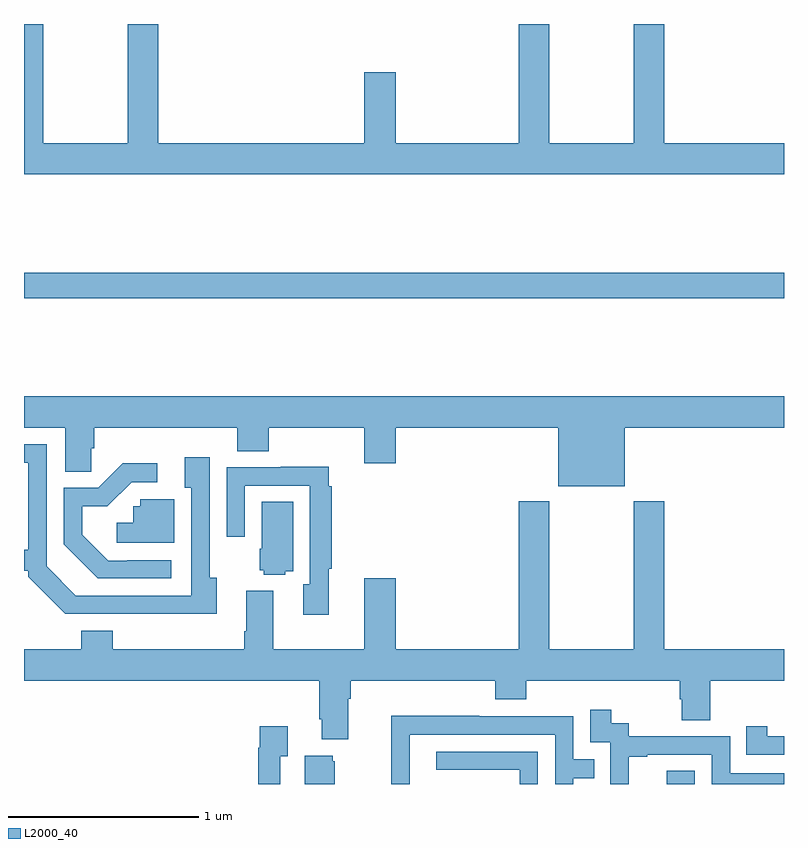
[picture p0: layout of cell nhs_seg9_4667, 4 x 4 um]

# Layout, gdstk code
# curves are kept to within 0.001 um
import gdstk
lib = gdstk.Library(unit=1e-6, precision=1e-09)
def R(c, l, rs):  # rectangles x0, y0, x1, y1
    for r in rs: c.add(gdstk.rectangle(r[:2], r[2:], *l))
def P(c, l, *ps):  # polygons
    for p in ps: c.add(gdstk.Polygon(p, *l))
L2000_40 = (2000, 40)

nhs_seg9_4667 = lib.new_cell('nhs_seg9_4667')
R(nhs_seg9_4667, L2000_40, [(382.383,1238.5,382.53,1238.569), (379,1241.056,383,1241.192)])
P(nhs_seg9_4667, L2000_40, [(383,1241.872),(382.37,1241.872),(382.37,1242.5),(382.21,1242.5),(382.21,1241.872),(381.765,1241.872),(381.765,1242.5),(381.605,1242.5),(381.605,1241.872),(380.956,1241.872),(380.956,1242.247),(380.792,1242.247),(380.792,1241.872),(379.706,1241.872),(379.706,1242.5),(379.546,1242.5),(379.546,1241.872),(379.101,1241.872),(379.101,1242.5),(379,1242.5),(379,1241.708),(383,1241.708)],
  [(382.162,1240.376),(383,1240.376),(383,1240.54),(379,1240.54),(379,1240.376),(379.217,1240.376),(379.217,1240.144),(379.355,1240.144),(379.355,1240.266),(379.37,1240.266),(379.37,1240.376),(380.123,1240.376),(380.123,1240.252),(380.288,1240.252),(380.288,1240.376),(380.792,1240.376),(380.792,1240.188),(380.956,1240.188),(380.956,1240.376),(381.812,1240.376),(381.812,1240.067),(382.162,1240.067)],
  [(380.014,1239.586),(379.977,1239.586),(379.977,1240.219),(379.847,1240.219),(379.847,1240.058),(379.881,1240.058),(379.881,1239.492),(379.272,1239.492),(379.119,1239.645),(379.119,1240.287),(379,1240.287),(379,1240.191),(379.022,1240.191),(379.022,1239.733),(379,1239.733),(379,1239.623),(379.023,1239.623),(379.023,1239.591),(379.218,1239.396),(380.014,1239.395)],
  [(379.774,1239.678),(379.543,1239.678),(379.543,1239.675),(379.443,1239.675),(379.306,1239.812),(379.306,1239.962),(379.439,1239.962),(379.566,1240.089),(379.702,1240.089),(379.702,1240.187),(379.52,1240.187),(379.392,1240.059),(379.209,1240.059),(379.209,1239.761),(379.388,1239.582),(379.774,1239.582)],
  [(380.603,1239.634),(380.621,1239.634),(380.621,1240.067),(380.603,1240.067),(380.603,1240.171),(380.351,1240.171),(380.351,1240.167),(380.067,1240.167),(380.067,1239.801),(380.163,1239.801),(380.163,1240.071),(380.505,1240.071),(380.505,1239.551),(380.471,1239.551),(380.471,1239.39),(380.603,1239.39)],
  [(379.792,1239.999),(379.611,1239.999),(379.611,1239.963),(379.575,1239.963),(379.575,1239.874),(379.488,1239.874),(379.488,1239.771),(379.792,1239.771)],
  [(380.707,1238.948),(380.72,1238.948),(380.72,1239.044),(381.479,1239.044),(381.479,1238.945),(381.644,1238.945),(381.644,1239.044),(382.451,1239.044),(382.451,1238.946),(382.463,1238.946),(382.463,1238.836),(382.611,1238.836),(382.611,1239.044),(383,1239.044),(383,1239.208),(382.37,1239.208),(382.37,1239.988),(382.21,1239.988),(382.21,1239.208),(381.765,1239.208),(381.765,1239.988),(381.605,1239.988),(381.605,1239.208),(380.956,1239.208),(380.956,1239.583),(380.792,1239.583),(380.792,1239.208),(380.311,1239.208),(380.311,1239.517),(380.171,1239.517),(380.171,1239.304),(380.159,1239.304),(380.159,1239.208),(379.466,1239.208),(379.466,1239.307),(379.301,1239.307),(379.301,1239.208),(379,1239.208),(379,1239.044),(380.555,1239.044),(380.555,1238.842),(380.567,1238.842),(380.567,1238.735),(380.707,1238.735)],
  [(380.376,1239.62),(380.416,1239.62),(380.416,1239.986),(380.252,1239.986),(380.252,1239.738),(380.24,1239.738),(380.24,1239.624),(380.262,1239.624),(380.262,1239.602),(380.376,1239.602)],
  [(382.184,1238.643),(382.279,1238.643),(382.279,1238.655),(382.62,1238.655),(382.62,1238.5),(383,1238.5),(383,1238.556),(382.716,1238.556),(382.716,1238.751),(382.182,1238.751),(382.182,1238.82),(382.09,1238.82),(382.09,1238.89),(381.981,1238.89),(381.981,1238.721),(382.086,1238.721),(382.086,1238.5),(382.184,1238.5)],
  [(381.03,1238.76),(381.795,1238.76),(381.795,1238.5),(381.891,1238.5),(381.891,1238.53),(382.001,1238.53),(382.001,1238.631),(381.891,1238.631),(381.891,1238.856),(381.395,1238.856),(381.395,1238.858),(380.932,1238.858),(380.932,1238.551),(380.934,1238.551),(380.934,1238.5),(381.03,1238.5)],
  [(383,1238.751),(382.912,1238.751),(382.912,1238.803),(382.801,1238.803),(382.801,1238.655),(383,1238.655)],
  [(380.349,1238.647),(380.389,1238.647),(380.389,1238.803),(380.241,1238.803),(380.241,1238.69),(380.233,1238.69),(380.233,1238.5),(380.349,1238.5)],
  [(381.705,1238.67),(381.171,1238.67),(381.171,1238.574),(381.609,1238.574),(381.609,1238.5),(381.705,1238.5)],
  [(380.635,1238.619),(380.624,1238.619),(380.624,1238.65),(380.477,1238.65),(380.477,1238.5),(380.635,1238.5)])

lib.write_gds('nhs_seg9_4667.gds')
